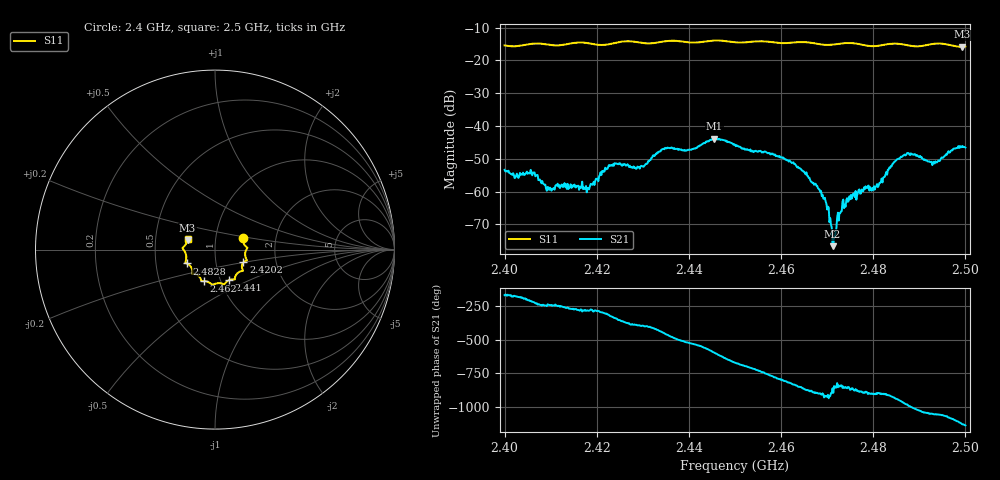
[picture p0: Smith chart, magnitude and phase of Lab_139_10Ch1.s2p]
# Hz S RI R 50
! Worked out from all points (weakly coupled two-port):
!   601 points, 2.4 GHz to 2.5 GHz, reference 50 ohm
!   highest |S21| = -43.87 dB at 2.4455 GHz (marker M1); lowest = -76.7 dB at 2.4712 GHz (marker M2)
!   lowest |S11| = -15.8 dB at 2.4993 GHz (marker M3), VSWR 1.39, Z = 36.6 + j3.86 ohm
!   |S11| at or under -10 dB: start of sweep to end of sweep
!   S12 and S22 are empty: the file has one direction only
!   S11 on the Smith chart (normalised r, x): 2.4 GHz: 1.36, +0.18; 2.4202 GHz: 1.36, -0.20; 2.441 GHz: 1.10, -0.39; 2.462 GHz: 0.84, -0.30; 2.4828 GHz: 0.72, -0.11; 2.5 GHz: 0.73, +0.09
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2.4e9  0.1575 0.063  -0.00209 -0.000479  0 0  0 0
2.406e9  0.1794 0.0117  -0.00143 0.00103  0 0  0 0
2.409667e9  0.1733 -0.00278  -0.000516 0.000926  0 0  0 0
2.416667e9  0.1777 -0.06  0.000102 0.00114  0 0  0 0
2.420167e9  0.1584 -0.0709  0.000406 0.00153  0 0  0 0
2.423e9  0.1498 -0.0974  0.00204 0.00147  0 0  0 0
2.429833e9  0.1379 -0.1233  0.00201 -0.00141  0 0  0 0
2.433333e9  0.1123 -0.1511  0.00147 -0.00364  0 0  0 0
2.441e9  0.0787 -0.1696  -0.00444 -0.000612  0 0  0 0
2.4455e9  0.0519 -0.1942  -0.00361 0.00529  0 0  0 0
2.45e9  0.0285 -0.187  0.00334 0.00393  0 0  0 0
2.462e9  -0.0604 -0.1756  -0.000627 -0.00281  0 0  0 0
2.466667e9  -0.0778 -0.1683  -0.00133 -0.00041  0 0  0 0
2.469833e9  -0.0937 -0.1448  -0.000614 0.000223  0 0  0 0
2.471167e9  -0.1061 -0.1378  -0.000115 -9.09e-05  0 0  0 0
2.473833e9  -0.1243 -0.1352  -0.000449 -0.00044  0 0  0 0
2.482833e9  -0.1577 -0.0773  -0.00198 0.000178  0 0  0 0
2.483333e9  -0.1607 -0.0761  -0.00209 0.000507  0 0  0 0
2.487167e9  -0.1616 -0.0587  -0.000564 0.00358  0 0  0 0
2.493333e9  -0.1797 0.00558  0.00245 0.00108  0 0  0 0
2.499333e9  -0.153 0.0514  0.00319 -0.0038  0 0  0 0
2.5e9  -0.1515 0.061  0.00243 -0.004  0 0  0 0
